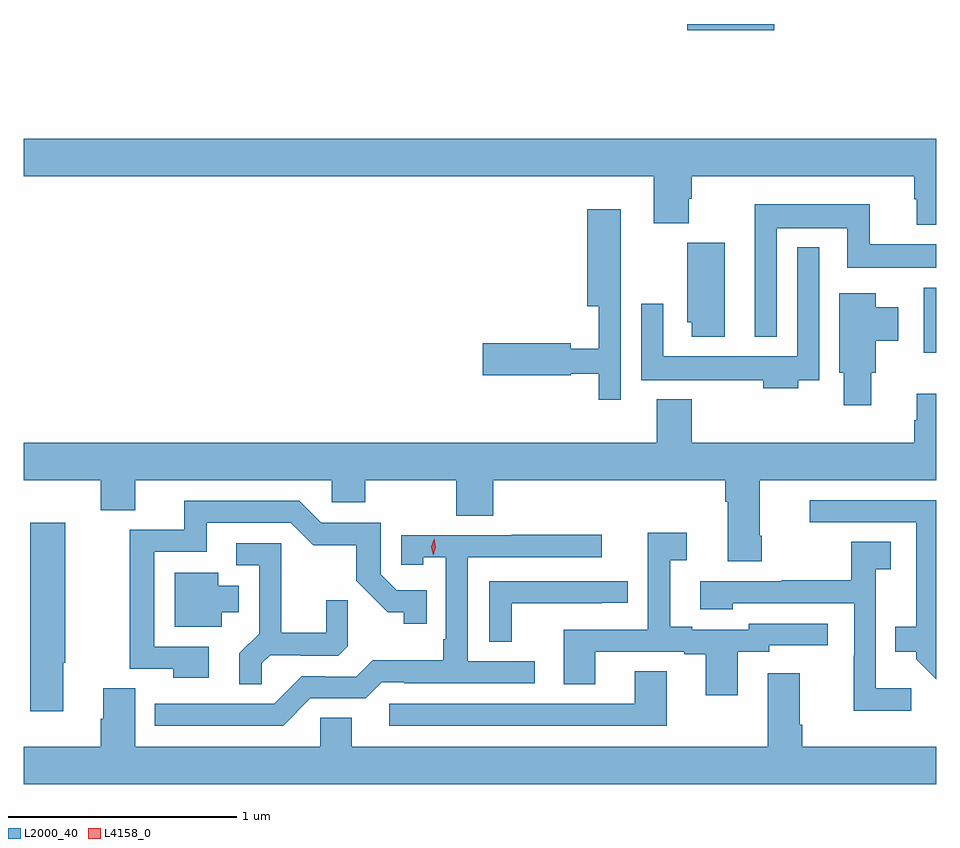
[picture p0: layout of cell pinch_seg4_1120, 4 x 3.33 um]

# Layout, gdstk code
import gdstk
lib = gdstk.Library(unit=1e-6, precision=1e-09)
def R(c, l, rs):  # rectangles x0, y0, x1, y1
    for r in rs: c.add(gdstk.rectangle(r[:2], r[2:], *l))
def P(c, l, *ps):  # polygons
    for p in ps: c.add(gdstk.Polygon(p, *l))
L2000_40 = (2000, 40)
L4158_0 = (4158, 0)

pinch_seg4_1120 = lib.new_cell('pinch_seg4_1120')
R(pinch_seg4_1120, L2000_40, [(435.221,764.078,435.277,764.362), (434.186,765.49,434.566,765.518)])
P(pinch_seg4_1120, L2000_40, [(435.277,765.016),(431.277,765.016),(431.277,764.852),(434.039,764.852),(434.039,764.644),(434.191,764.644),(434.191,764.753),(434.204,764.753),(434.204,764.852),(435.179,764.852),(435.179,764.751),(435.191,764.751),(435.191,764.639),(435.277,764.639)],
  [(434.577,764.624),(434.886,764.624),(434.886,764.45),(435.277,764.45),(435.277,764.554),(434.984,764.554),(434.984,764.728),(434.48,764.728),(434.48,764.147),(434.577,764.147)],
  [(433.893,764.386),(433.894,764.386),(433.894,764.707),(433.748,764.707),(433.748,764.282),(433.797,764.282),(433.797,764.096),(433.674,764.096),(433.674,764.12),(433.29,764.12),(433.29,763.978),(433.674,763.978),(433.674,763.986),(433.797,763.986),(433.797,763.872),(433.893,763.872)],
  [(434.35,764.559),(434.186,764.559),(434.186,764.211),(434.204,764.211),(434.204,764.148),(434.35,764.148)],
  [(434.671,763.956),(434.763,763.956),(434.763,764.539),(434.667,764.539),(434.667,764.062),(434.079,764.062),(434.079,764.293),(433.983,764.293),(433.983,763.958),(434.287,763.958),(434.287,763.956),(434.519,763.956),(434.519,763.922),(434.671,763.922)],
  [(434.992,763.989),(435.01,763.989),(435.01,764.131),(435.109,764.131),(435.109,764.278),(435.01,764.278),(435.01,764.338),(434.852,764.338),(434.852,763.989),(434.87,763.989),(434.87,763.848),(434.992,763.848)],
  [(434.511,763.276),(434.503,763.276),(434.503,763.52),(435.277,763.52),(435.277,763.897),(435.191,763.897),(435.191,763.782),(435.179,763.782),(435.179,763.684),(434.204,763.684),(434.204,763.873),(434.051,763.873),(434.051,763.684),(431.277,763.684),(431.277,763.52),(431.615,763.52),(431.615,763.387),(431.767,763.387),(431.767,763.52),(432.627,763.52),(432.627,763.422),(432.774,763.422),(432.774,763.52),(433.174,763.52),(433.174,763.363),(433.334,763.363),(433.334,763.52),(434.351,763.52),(434.351,763.424),(434.363,763.424),(434.363,763.164),(434.511,763.164)],
  [(435.277,763.431),(434.721,763.431),(434.721,763.335),(435.188,763.335),(435.188,762.877),(435.097,762.877),(435.097,762.767),(435.189,762.767),(435.189,762.735),(435.277,762.647)],
  [(432.088,762.789),(431.85,762.789),(431.85,763.206),(432.079,763.206),(432.079,763.332),(432.447,763.332),(432.546,763.234),(432.735,763.234),(432.735,763.078),(432.872,762.941),(432.942,762.941),(432.942,762.891),(433.043,762.891),(433.043,763.038),(432.912,763.038),(432.843,763.107),(432.843,763.332),(432.582,763.332),(432.486,763.428),(431.981,763.428),(431.981,763.302),(431.742,763.302),(431.742,762.693),(431.932,762.693),(431.932,762.653),(432.088,762.653)],
  [(431.452,762.719),(431.46,762.719),(431.46,763.333),(431.306,763.333),(431.306,762.507),(431.452,762.507)],
  [(434.407,762.768),(434.544,762.768),(434.544,762.795),(434.8,762.795),(434.8,762.891),(434.454,762.891),(434.454,762.864),(434.206,762.864),(434.206,762.877),(434.11,762.877),(434.11,763.168),(434.182,763.168),(434.182,763.288),(434.013,763.288),(434.013,762.864),(433.643,762.864),(433.643,762.625),(433.783,762.625),(433.783,762.768),(434.171,762.768),(434.171,762.756),(434.267,762.756),(434.267,762.576),(434.407,762.576)],
  [(432.534,762.564),(432.777,762.564),(432.846,762.633),(432.946,762.633),(432.946,762.63),(433.516,762.63),(433.516,762.726),(433.224,762.726),(433.224,763.182),(433.81,763.182),(433.81,763.281),(433.417,763.281),(433.417,763.278),(432.933,763.278),(432.933,763.149),(433.029,763.149),(433.029,763.181),(433.128,763.181),(433.128,762.823),(433.116,762.823),(433.116,762.73),(432.808,762.73),(432.735,762.657),(432.596,762.657),(432.596,762.66),(432.495,762.66),(432.375,762.54),(431.852,762.54),(431.852,762.444),(432.414,762.444)],
  [(435.166,762.607),(435.012,762.607),(435.012,763.129),(435.076,763.129),(435.076,763.25),(434.904,763.25),(434.904,763.08),(434.599,763.08),(434.599,763.077),(434.241,763.077),(434.241,762.953),(434.385,762.953),(434.385,762.981),(434.916,762.981),(434.916,762.749),(434.914,762.749),(434.914,762.509),(435.166,762.509)],
  [(432.321,762.716),(432.358,762.753),(432.492,762.753),(432.492,762.75),(432.657,762.75),(432.698,762.791),(432.698,762.993),(432.604,762.993),(432.604,762.85),(432.407,762.85),(432.407,763.242),(432.21,763.242),(432.21,763.146),(432.309,763.146),(432.309,762.847),(432.223,762.761),(432.223,762.625),(432.321,762.625)],
  [(432.145,762.941),(432.22,762.941),(432.22,763.057),(432.13,763.057),(432.13,763.114),(431.939,763.114),(431.939,762.878),(432.145,762.878)],
  [(433.416,762.981),(433.811,762.981),(433.811,762.982),(433.924,762.982),(433.924,763.077),(433.317,763.077),(433.317,762.811),(433.416,762.811)],
  [(434.095,762.683),(433.955,762.683),(433.955,762.54),(432.879,762.54),(432.879,762.444),(434.095,762.444)],
  [(435.277,762.352),(434.69,762.352),(434.69,762.448),(434.677,762.448),(434.677,762.673),(434.537,762.673),(434.537,762.352),(432.715,762.352),(432.715,762.479),(432.576,762.479),(432.576,762.352),(431.767,762.352),(431.767,762.608),(431.627,762.608),(431.627,762.474),(431.615,762.474),(431.615,762.352),(431.277,762.352),(431.277,762.188),(435.277,762.188)])
P(pinch_seg4_1120, L4158_0, [(433.073,763.191),(433.073,763.191),(433.064,763.227),(433.076,763.263),(433.076,763.263),(433.076,763.263),(433.084,763.226),(433.073,763.191)])

lib.write_gds('pinch_seg4_1120.gds')
